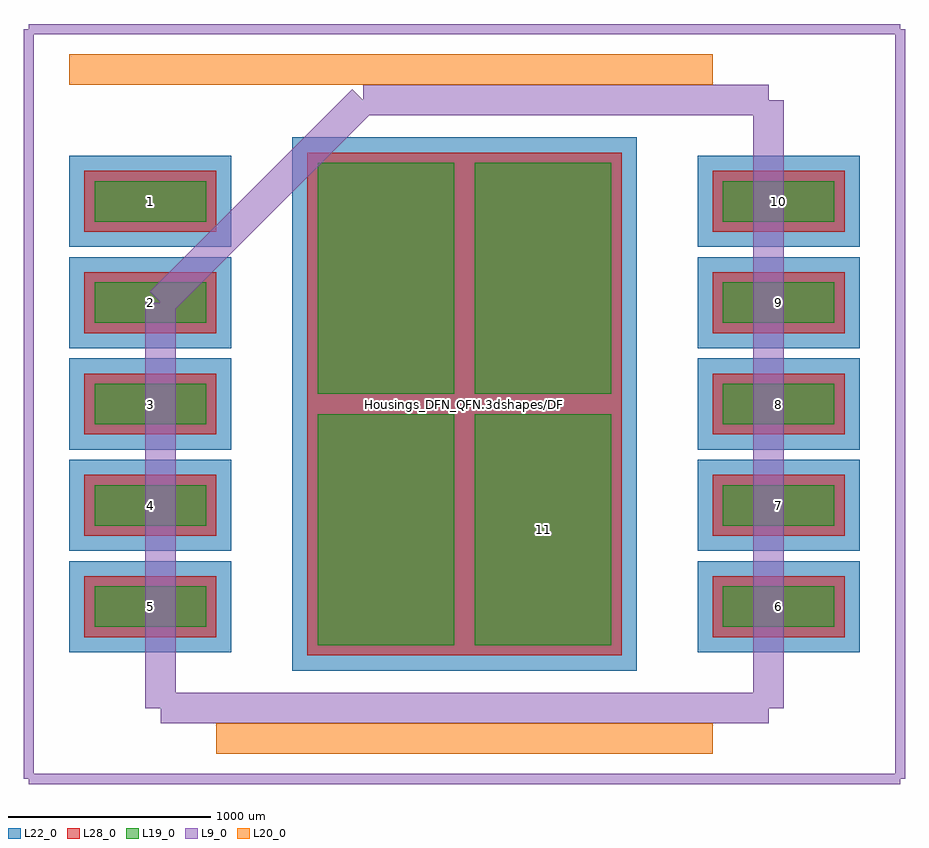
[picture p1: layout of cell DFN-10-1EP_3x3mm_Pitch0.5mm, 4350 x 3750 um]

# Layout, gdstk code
import gdstk
lib = gdstk.Library(unit=1e-6, precision=1e-09)
def R(c, l, rs):  # rectangles x0, y0, x1, y1
    for r in rs: c.add(gdstk.rectangle(r[:2], r[2:], *l))
def A(c, l, x, y, w, h, nx, ny, dx, dy):  # array of equal rectangles
    R(c, l, [(x+i*dx, y+j*dy, x+i*dx+w, y+j*dy+h) for i in range(nx) for j in range(ny)])
L9_0 = (9, 0)
L19_0 = (19, 0)
L20_0 = (20, 0)
L22_0 = (22, 0)
L28_0 = (28, 0)

dfn_10_1ep_3x3mm_pitch0_ = lib.new_cell('DFN-10-1EP_3x3mm_Pitch0.5mm')
A(dfn_10_1ep_3x3mm_pitch0_, L19_0, -1825, -1100, 550, 200, 1, 5, 0, 500)
A(dfn_10_1ep_3x3mm_pitch0_, L19_0, 1275, -1100, 550, 200, 1, 5, 0, 500)
R(dfn_10_1ep_3x3mm_pitch0_, L19_0, [(-725,-1190,-50,-50), (50,-1190,725,-50), (-725,50,-50,1190), (50,50,725,1190)])
A(dfn_10_1ep_3x3mm_pitch0_, L22_0, -1950, -1225, 800, 450, 1, 5, 0, 500)
A(dfn_10_1ep_3x3mm_pitch0_, L22_0, 1150, -1225, 800, 450, 1, 5, 0, 500)
R(dfn_10_1ep_3x3mm_pitch0_, L22_0, [(-850,-1315,75,75), (-75,-1315,850,75), (-850,-75,75,1315), (-75,-75,850,1315)])
A(dfn_10_1ep_3x3mm_pitch0_, L28_0, -1875, -1150, 650, 300, 1, 5, 0, 500)
A(dfn_10_1ep_3x3mm_pitch0_, L28_0, 1225, -1150, 650, 300, 1, 5, 0, 500)
R(dfn_10_1ep_3x3mm_pitch0_, L28_0, [(-775,-1240,0,0), (0,-1240,775,0), (-775,0,0,1240), (0,0,775,1240)])
dfn_10_1ep_3x3mm_pitch0_.add(gdstk.FlexPath([(-1950,1650),(1225,1650)], 149.998, ends="flush", simple_path=True, layer=20, datatype=0))  # L20_0
dfn_10_1ep_3x3mm_pitch0_.add(gdstk.FlexPath([(-1225,-1650),(1225,-1650)], 149.998, ends="flush", simple_path=True, layer=20, datatype=0))  # L20_0
dfn_10_1ep_3x3mm_pitch0_.add(gdstk.FlexPath([(-2150,-1850),(2150,-1850)], 50, ends="flush", simple_path=True, layer=9, datatype=0))  # L9_0
dfn_10_1ep_3x3mm_pitch0_.add(gdstk.FlexPath([(-2150,1850),(2150,1850)], 50, ends="flush", simple_path=True, layer=9, datatype=0))  # L9_0
dfn_10_1ep_3x3mm_pitch0_.add(gdstk.FlexPath([(2150,1850),(2150,-1850)], 50, ends="flush", simple_path=True, layer=9, datatype=0))  # L9_0
dfn_10_1ep_3x3mm_pitch0_.add(gdstk.FlexPath([(-2150,1850),(-2150,-1850)], 50, ends="flush", simple_path=True, layer=9, datatype=0))  # L9_0
dfn_10_1ep_3x3mm_pitch0_.add(gdstk.FlexPath([(-1500,500),(-500,1500)], 149.998, ends="flush", simple_path=True, layer=9, datatype=0))  # L9_0
dfn_10_1ep_3x3mm_pitch0_.add(gdstk.FlexPath([(-1500,-1500),(-1500,500)], 149.998, ends="flush", simple_path=True, layer=9, datatype=0))  # L9_0
dfn_10_1ep_3x3mm_pitch0_.add(gdstk.FlexPath([(1500,-1500),(-1500,-1500)], 149.998, ends="flush", simple_path=True, layer=9, datatype=0))  # L9_0
dfn_10_1ep_3x3mm_pitch0_.add(gdstk.FlexPath([(1500,1500),(1500,-1500)], 149.998, ends="flush", simple_path=True, layer=9, datatype=0))  # L9_0
dfn_10_1ep_3x3mm_pitch0_.add(gdstk.FlexPath([(-500,1500),(1500,1500)], 149.998, ends="flush", simple_path=True, layer=9, datatype=0))  # L9_0
dfn_10_1ep_3x3mm_pitch0_.add(gdstk.Label('Housings_DFN_QFN.3dshapes/DFN-10-1EP_3x3mm_Pitch0.5mm.wrl', (0,0), layer=12, texttype=0))
dfn_10_1ep_3x3mm_pitch0_.add(gdstk.Label('11', (387.5,-620), layer=28, texttype=0))
dfn_10_1ep_3x3mm_pitch0_.add(gdstk.Label('10', (1550,1000), layer=28, texttype=0))
dfn_10_1ep_3x3mm_pitch0_.add(gdstk.Label('9', (1550,500), layer=28, texttype=0))
dfn_10_1ep_3x3mm_pitch0_.add(gdstk.Label('8', (1550,0), layer=28, texttype=0))
dfn_10_1ep_3x3mm_pitch0_.add(gdstk.Label('7', (1550,-500), layer=28, texttype=0))
dfn_10_1ep_3x3mm_pitch0_.add(gdstk.Label('6', (1550,-1000), layer=28, texttype=0))
dfn_10_1ep_3x3mm_pitch0_.add(gdstk.Label('5', (-1550,-1000), layer=28, texttype=0))
dfn_10_1ep_3x3mm_pitch0_.add(gdstk.Label('4', (-1550,-500), layer=28, texttype=0))
dfn_10_1ep_3x3mm_pitch0_.add(gdstk.Label('3', (-1550,0), layer=28, texttype=0))
dfn_10_1ep_3x3mm_pitch0_.add(gdstk.Label('2', (-1550,500), layer=28, texttype=0))
dfn_10_1ep_3x3mm_pitch0_.add(gdstk.Label('1', (-1550,1000), layer=28, texttype=0))
dfn_10_1ep_3x3mm_pitch0_.add(gdstk.Label('type', (0,-2575), layer=9, texttype=0))
dfn_10_1ep_3x3mm_pitch0_.add(gdstk.Label('devicename', (0,2575), layer=9, texttype=0))

lib.write_gds('DFN-10-1EP_3x3mm_Pitch0.5mm.gds')
